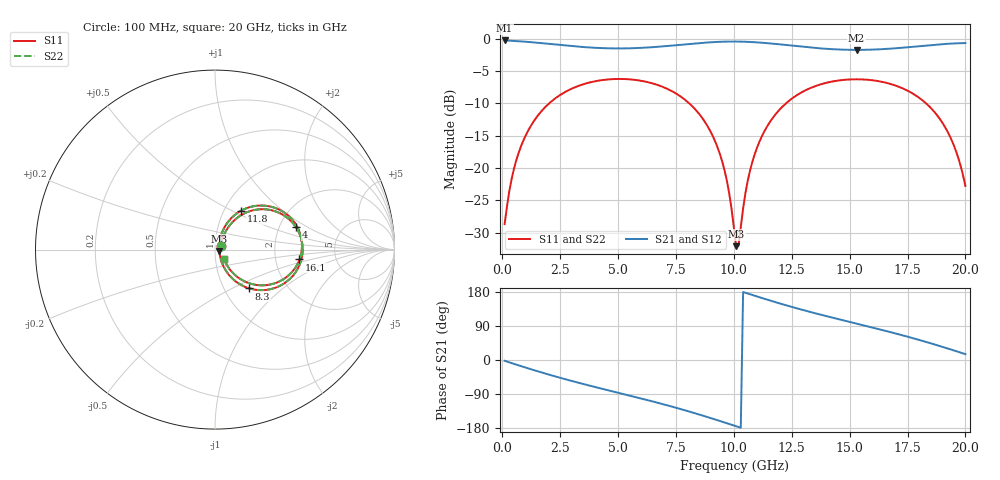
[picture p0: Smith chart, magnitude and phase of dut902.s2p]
! Touchstone file exported from HFSS 2026.1.0
!  File:  C:/ffzhzh/LocalFiles/Ansys_Project_Files/temp_train_TSV_RDL_902_1783276556_38704.aedt
!  Generated:  02:49:34 AM Jul  6, 2026
!  Design:  TSV_RDL
!  Project:  temp_train_TSV_RDL_902_1783276556_38704
! Variables:
!  h_bsmrdl = 5.02um
!  h_ox = 20um
!  h_rdl = 5um
!  h_sub = 92.46um
!  h_tmrdl = 2.2um
!  h_tsv = 92.46um
!  h_via = 3um
!  l_bsmrdl = 515.3um
!  l_sub = 5551.59um
!  l_tmrdl = 872.75um
!  m_sub = 200um
!  pitch = 47.44um
!  r_tsv = 13.53um
!  s_tmrdl = 10um
!  w_bsmrdl = 14.39um
!  w_sub = 500um
!  w_tmrdl = 23.84um
!  x_tsv_center1 = 884.67um
!  x_tsv_center2 = 1414.36um
!  x_tsv_center3 = 2310.95um
!  x_tsv_center4 = 2840.64um
!  x_tsv_center5 = 3737.23um
!  x_tsv_center6 = 4266.92um
# GHz S MA R 50.000000
! Terminal data exported
! Port[1] = TM_RDL1_1_T1
! Port[2] = TM_RDL5_1_T1
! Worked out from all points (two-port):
!   200 points, 100 MHz to 20 GHz, reference 50 ohm
!   highest |S21| = -0.28 dB at 100 MHz (marker M1); lowest = -1.7 dB at 15.3 GHz (marker M2)
!   |S21| within 3 dB of the highest: start of sweep to end of sweep
!   lowest |S11| = -32.1 dB at 10.1 GHz (marker M3), VSWR 1.05, Z = 52.4 - j0.737 ohm
!   |S11| at or under -10 dB: start of sweep to 2.024 GHz; 8.074 GHz to 12.25 GHz (4.177 GHz wide, 41.1 % of centre); 18.3 GHz to end of sweep
!   |S22| runs from -31.8 to -6.2 dB; largest |S21 - S12| = 2.6e-14
!   S11 on the Smith chart (normalised r, x): 100 MHz: 1.07, +0.04; 4 GHz: 2.47, +0.78; 8.3 GHz: 1.31, -0.62; 11.8 GHz: 1.20, +0.56; 16.1 GHz: 2.74, -0.39; 20 GHz: 1.10, -0.12
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0.1  0.03692 29.6  0.9684 -2.1  0.9684 -2.1  0.03692 29.6
! Gamma 0 0 0 0
! Port Impedance 50 0 50 0
0.5  0.09815 58.7  0.9604 -10.2  0.9604 -10.2  0.09814 58.7
1.2  0.207 55.7  0.9407 -23.7  0.9407 -23.7  0.207 55.7
2.2  0.3362 41.9  0.9045 -41.8  0.9045 -41.8  0.3362 41.9
3.5  0.4445 22.6  0.8612 -63.4  0.8612 -63.4  0.4445 22.7
4  0.4683 15.4  0.85 -71.2  0.85 -71.2  0.4682 15.4
6.8  0.4329 -25.2  0.8676 -114.3  0.8676 -114.3  0.4328 -25.1
8.3  0.2886 -48.5  0.9176 -140.1  0.9176 -140.1  0.2885 -48.4
9.5  0.112 -63.2  0.947 -162.9  0.947 -162.9  0.1121 -62.7
9.8  0.06381 -59.5  0.9497 -168.8  0.9497 -168.8  0.06407 -58.6
10.1  0.02494 -16.3  0.9498 -174.7  0.9498 -174.7  0.02583 -15.4
10.2  0.02508 21.6  0.9494 -176.7  0.9494 -176.7  0.02603 21.1
10.5  0.06406 63.9  0.9463 177.4  0.9463 177.4  0.06451 63.2
10.8  0.1119 67.6  0.9409 171.5  0.9409 171.5  0.1122 67.2
11.8  0.2603 56.3  0.9102 152.6  0.9102 152.6  0.2605 56.1
13.4  0.4219 31.8  0.8509 125.1  0.8509 125.1  0.4219 31.8
15.3  0.4855 4.6  0.819 96.0  0.819 96.0  0.4855 4.6
16.1  0.474 -6.7  0.8244 83.9  0.8244 83.9  0.474 -6.7
16.7  0.4502 -15.2  0.8356 74.6  0.8356 74.6  0.4501 -15.2
18.8  0.253 -46.0  0.9009 38.6  0.9009 38.6  0.2529 -45.9
19.5  0.15 -53.0  0.9182 25.3  0.9182 25.3  0.15 -52.8
20  0.07283 -46.4  0.9244 15.5  0.9244 15.5  0.07298 -46.0
